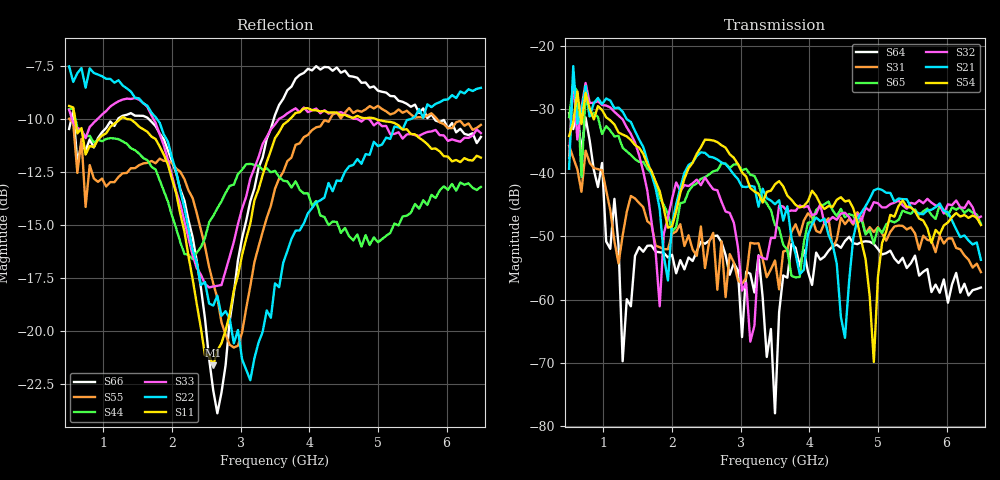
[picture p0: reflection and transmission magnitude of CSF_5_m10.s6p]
!Keysight Technologies,M9804A,MY58100912,A.14.10.03
!Date: Thursday, April 27, 2023 10:28:33
!Correction: S11(C  6-Port  )
!S12(C  6-Port  )
!S13(C  6-Port  )
!S14(C  6-Port  )
!S15(C  6-Port  )
!S16(C  6-Port  )
!S21(C  6-Port  )
!S22(C  6-Port  )
!S23(C  6-Port  )
!S24(C  6-Port  )
!S25(C  6-Port  )
!S26(C  6-Port  )
!S31(C  6-Port  )
!S32(C  6-Port  )
!S33(C  6-Port  )
!S34(C  6-Port  )
!S35(C  6-Port  )
!S36(C  6-Port  )
!S41(C  6-Port  )
!S42(C  6-Port  )
!S43(C  6-Port  )
!S44(C  6-Port  )
!S45(C  6-Port  )
!S46(C  6-Port  )
!S51(C  6-Port  )
!S52(C  6-Port  )
!S53(C  6-Port  )
!S54(C  6-Port  )
!S55(C  6-Port  )
!S56(C  6-Port  )
!S61(C  6-Port  )
!S62(C  6-Port  )
!S63(C  6-Port  )
!S64(C  6-Port  )
!S65(C  6-Port  )
!S66(C  6-Port  )
!S6P File: Measurement: :
# Hz S  RI  R 50
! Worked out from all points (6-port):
!   101 points, 500 MHz to 6.5 GHz, reference 50 ohm
!   strongest paths, dB at 500 MHz, 2 GHz, 3.5 GHz, 5 GHz, 6.5 GHz:
!     S54: -34.2, -48.4, -41.8, -56.4, -48.2
!     S21: -39.4, -48.0, -45.0, -42.5, -53.7
!     S32: -37.6, -44.1, -50.3, -44.8, -46.9
!     S65: -31.2, -49.3, -48.3, -48.7, -48.1
!     S31: -35.8, -49.6, -53.8, -48.6, -55.7
!     S64: -30.6, -52.9, -77.9, -52.0, -58.1
!   lowest |S11| = -21.6 dB at 2.6 GHz (marker M1), VSWR 1.18, Z = 42.6 + j2.06 ohm
!   |S11| at or under -10 dB: 587.1 MHz to 1.243 GHz (656.2 MHz wide, 71.7 % of centre); 1.361 GHz to 3.715 GHz (2.354 GHz wide, 92.8 % of centre); 4.975 GHz to end of sweep
